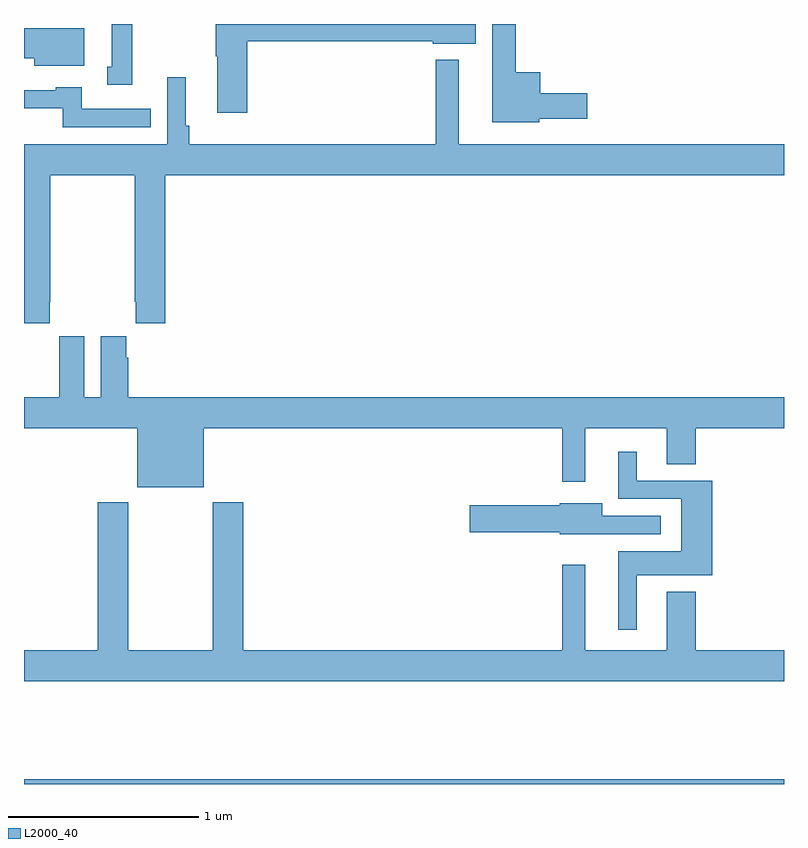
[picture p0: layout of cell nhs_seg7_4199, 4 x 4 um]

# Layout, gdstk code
import gdstk
lib = gdstk.Library(unit=1e-6, precision=1e-09)
def R(c, l, rs):  # rectangles x0, y0, x1, y1
    for r in rs: c.add(gdstk.rectangle(r[:2], r[2:], *l))
def P(c, l, *ps):  # polygons
    for p in ps: c.add(gdstk.Polygon(p, *l))
L2000_40 = (2000, 40)

nhs_seg7_4199 = lib.new_cell('nhs_seg7_4199')
R(nhs_seg7_4199, L2000_40, [(375,1076,379,1076.024)])
P(nhs_seg7_4199, L2000_40, [(377.712,1079.501),(377.965,1079.501),(377.965,1079.636),(377.716,1079.636),(377.716,1079.746),(377.587,1079.746),(377.587,1080),(377.465,1080),(377.465,1079.483),(377.712,1079.483)],
  [(375.571,1080),(375.461,1080),(375.461,1079.775),(375.437,1079.775),(375.437,1079.681),(375.571,1079.681)],
  [(376.175,1079.908),(377.15,1079.908),(377.15,1079.897),(377.377,1079.897),(377.377,1080),(376.009,1080),(376.009,1079.831),(376.016,1079.831),(376.016,1079.532),(376.175,1079.532)],
  [(375.316,1079.977),(375,1079.977),(375,1079.819),(375.053,1079.819),(375.053,1079.78),(375.316,1079.78)],
  [(375.135,1078.537),(375.138,1078.537),(375.138,1079.204),(375.583,1079.204),(375.583,1078.537),(375.589,1078.537),(375.589,1078.425),(375.743,1078.425),(375.743,1079.204),(379,1079.204),(379,1079.368),(377.287,1079.368),(377.287,1079.812),(377.166,1079.812),(377.166,1079.368),(375.869,1079.368),(375.869,1079.464),(375.85,1079.464),(375.85,1079.719),(375.753,1079.719),(375.753,1079.368),(375,1079.368),(375,1078.425),(375.135,1078.425)],
  [(375.668,1079.553),(375.304,1079.553),(375.304,1079.668),(375.168,1079.668),(375.168,1079.652),(375,1079.652),(375,1079.556),(375.205,1079.556),(375.205,1079.457),(375.668,1079.457)],
  [(375.946,1077.872),(377.832,1077.872),(377.832,1077.591),(377.953,1077.591),(377.953,1077.872),(378.383,1077.872),(378.383,1077.682),(378.536,1077.682),(378.536,1077.872),(379,1077.872),(379,1078.036),(375.548,1078.036),(375.548,1078.244),(375.538,1078.244),(375.538,1078.357),(375.404,1078.357),(375.404,1078.036),(375.316,1078.036),(375.316,1078.357),(375.186,1078.357),(375.186,1078.244),(375.185,1078.244),(375.185,1078.036),(375,1078.036),(375,1077.872),(375.596,1077.872),(375.596,1077.563),(375.946,1077.563)],
  [(378.226,1077.098),(378.622,1077.098),(378.622,1077.597),(378.226,1077.597),(378.226,1077.748),(378.128,1077.748),(378.128,1077.501),(378.458,1077.501),(378.458,1077.226),(378.128,1077.226),(378.128,1076.811),(378.226,1076.811)],
  [(379,1076.704),(378.536,1076.704),(378.536,1077.013),(378.383,1077.013),(378.383,1076.704),(377.953,1076.704),(377.953,1077.154),(377.832,1077.154),(377.832,1076.704),(376.154,1076.704),(376.154,1077.484),(375.994,1077.484),(375.994,1076.704),(375.549,1076.704),(375.549,1077.484),(375.389,1077.484),(375.389,1076.704),(375,1076.704),(375,1076.54),(379,1076.54)],
  [(378.039,1077.315),(378.352,1077.315),(378.352,1077.411),(378.043,1077.411),(378.043,1077.478),(377.82,1077.478),(377.82,1077.468),(377.346,1077.468),(377.346,1077.326),(377.82,1077.326),(377.82,1077.314),(378.039,1077.314)])

lib.write_gds('nhs_seg7_4199.gds')
